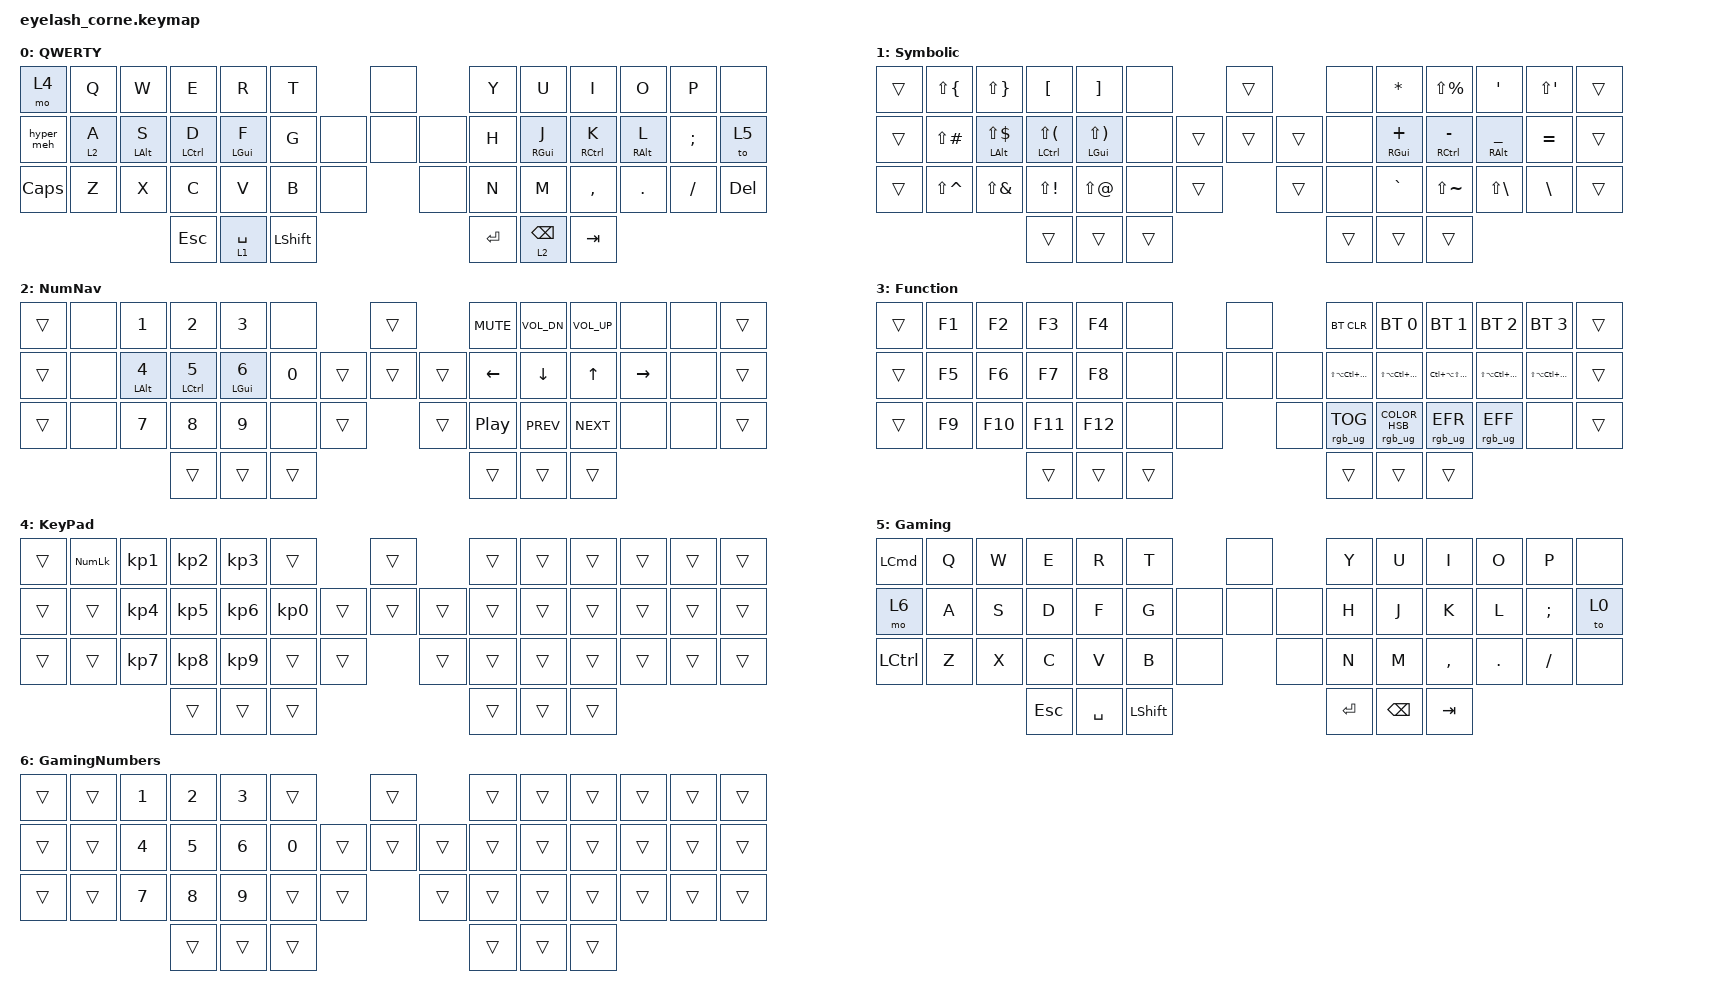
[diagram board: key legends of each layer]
#define ZMK_POINTING_DEFAULT_MOVE_VAL 1200  // 600
#define ZMK_POINTING_DEFAULT_SCRL_VAL 15   // 10

#include <input/processors.dtsi>
#include <zephyr/dt-bindings/input/input-event-codes.h>
#include <behaviors.dtsi>
#include <dt-bindings/zmk/bt.h>
#include <dt-bindings/zmk/keys.h>
#include <dt-bindings/zmk/rgb.h>

&mmv_input_listener { input-processors = <&zip_xy_scaler 2 1>; };

&msc_input_listener { input-processors = <&zip_scroll_scaler 2 1>; };

&msc {
    time-to-max-speed-ms = <200>;       // 300                   // 0
    acceleration-exponent = <0>;
    delay-ms = <0>;
};

&mmv {
    time-to-max-speed-ms = <500>;
    acceleration-exponent = <1>;
    trigger-period-ms = <16>;
};

&lt {
    flavor = "balanced";
    tapping-term-ms = <150>;
};

/ {
    behaviors {
        td0: td0 {
            compatible = "zmk,behavior-tap-dance";
            display-name = "Shift/Caps Lock Tap Dance";
            #binding-cells = <0>;
            bindings = <&kp LEFT_SHIFT>, <&caps_word>;

            label = "shift-caps";
        };

        hmr_left: hmr_left {
            compatible = "zmk,behavior-hold-tap";
            label = "HMR_LEFT";
            bindings = <&kp>, <&kp>;

            #binding-cells = <2>;
            quick-tap-ms = <175>;
            flavor = "balanced";
            hold-trigger-key-positions = <7 8 9 10 11 12 22 23 24 25 26 27 36 37 38 39 40 41 45 46 47>;
            tapping-term-ms = <220>;
            require-prior-idle-ms = <150>;
            hold-trigger-on-release;
        };

        hmr_right: hmr_right {
            compatible = "zmk,behavior-hold-tap";
            label = "HMR_RIGHT";
            bindings = <&kp>, <&kp>;

            #binding-cells = <2>;
            tapping-term-ms = <220>;
            quick-tap-ms = <175>;
            require-prior-idle-ms = <150>;
            flavor = "balanced";
            hold-trigger-on-release;
            hold-trigger-key-positions = <0 1 2 3 4 5 13 14 15 16 17 18 28 29 30 31 32 33 42 43 44>;
        };

        hyper_meh: hyper_meh {
            compatible = "zmk,behavior-tap-dance";
            label = "HYPER_MEH";
            #binding-cells = <0>;
            bindings = <&kp LS(LA(LC(LGUI)))>, <&kp LS(LA(LCTRL))>;
        };

        shift_auto_caps: shift_auto_caps {
            compatible = "zmk,behavior-hold-tap";
            label = "SHIFT_AUTO_CAPS";
            bindings = <&kp>, <&caps_word>;

            #binding-cells = <2>;
            hold-while-undecided;
            tapping-term-ms = <140>;
        };

        pinky_layer_shift: pinky_layer_shift {
            compatible = "zmk,behavior-hold-tap";
            label = "PINKY_LAYER_SHIFT";
            bindings = <&mo>, <&kp>;

            #binding-cells = <2>;
            quick-tap-ms = <175>;
            flavor = "tap-preferred";
            tapping-term-ms = <220>;
            require-prior-idle-ms = <150>;
            hold-trigger-on-release;
        };
    };

    rgb_encoder: rgb_encoder {
        compatible = "zmk,behavior-sensor-rotate";
        #sensor-binding-cells = <0>;
        bindings = <&rgb_ug RGB_BRI>, <&rgb_ug RGB_BRD>;
    };

    zip_scroll_scaler: zip_scroll_scaler {
        compatible = "zmk,input-processor-scaler";
        #input-processor-cells = <2>;
        type = <INPUT_EV_REL>;
        codes = <INPUT_REL_WHEEL INPUT_REL_HWHEEL>;

        // track-remainders;
    };

    combos { compatible = "zmk,combos"; };

    keymap {
        compatible = "zmk,keymap";

        default_layer {
            display-name = "QWERTY";
            bindings = <
&mo 4         &kp Q                   &kp W                 &kp E                     &kp R                 &kp T                       &none         &kp Y      &kp U                   &kp I                       &kp O                   &kp P          &none
&hyper_meh    &pinky_layer_shift 2 A  &hmr_left LEFT_ALT S  &hmr_left LEFT_CONTROL D  &hmr_left LEFT_GUI F  &kp G                &none  &none  &none  &kp H      &hmr_right RIGHT_GUI J  &hmr_right RIGHT_CONTROL K  &hmr_right RIGHT_ALT L  &kp SEMICOLON  &to 5
&kp CAPSLOCK  &kp Z                   &kp X                 &kp C                     &kp V                 &kp B       &none           &none         &kp N      &kp M                   &kp COMMA                   &kp DOT                 &kp FSLH       &kp DELETE
                                                            &kp ESCAPE                &lt 1 SPACE           &kp LSHIFT                                &kp ENTER  &lt 2 BACKSPACE         &kp TAB
            >;
        };

        Symbolic {
            bindings = <
&trans  &kp LS(LBRC)   &kp LS(RBRC)                   &kp LBKT                                     &kp RBKT                                  &none                     &trans          &none   &kp STAR                   &kp LS(PRCNT)                   &kp SINGLE_QUOTE            &kp LS(SINGLE_QUOTE)  &trans
&trans  &kp LS(POUND)  &hmr_left LEFT_ALT LS(DOLLAR)  &hmr_left LEFT_CONTROL LS(LEFT_PARENTHESIS)  &hmr_left LEFT_GUI LS(RIGHT_PARENTHESIS)  &none             &trans  &trans  &trans  &none   &hmr_right RIGHT_GUI PLUS  &hmr_right RIGHT_CONTROL MINUS  &hmr_right RIGHT_ALT UNDER  &kp EQUAL             &trans
&trans  &kp LS(CARET)  &kp LS(AMPS)                   &kp LS(EXCL)                                 &kp LS(AT)                                &none   &trans            &trans          &none   &kp GRAVE                  &kp LS(TILDE)                   &kp LS(BACKSLASH)           &kp BACKSLASH         &trans
                                                      &trans                                       &trans                                    &trans                                    &trans  &trans                     &trans
            >;
        };

        NumNav {
            bindings = <
&trans  &none  &kp N1                       &kp N2                           &kp N3                       &none                           &trans          &kp C_MUTE        &kp C_VOL_DN  &kp C_VOL_UP  &none      &none  &trans
&trans  &none  &hmr_left LEFT_ALT NUMBER_4  &hmr_left LEFT_CONTROL NUMBER_5  &hmr_left LEFT_GUI NUMBER_6  &kp NUMBER_0            &trans  &trans  &trans  &kp LEFT          &kp DOWN      &kp UP        &kp RIGHT  &none  &trans
&trans  &none  &kp N7                       &kp N8                           &kp N9                       &none         &trans            &trans          &kp C_PLAY_PAUSE  &kp C_PREV    &kp C_NEXT    &none      &none  &trans
                                            &trans                           &trans                       &trans                                          &trans            &trans        &trans
            >;
        };

        Function {
            bindings = <
&trans  &kp F1  &kp F2   &kp F3   &kp F4   &none                   &none         &bt BT_CLR              &bt BT_SEL 0                       &bt BT_SEL 1            &bt BT_SEL 2            &bt BT_SEL 3            &trans
&trans  &kp F5  &kp F6   &kp F7   &kp F8   &none            &none  &none  &none  &kp LS(LA(LC(LG(F1))))  &kp LS(LA(LC(LG(F2))))             &kp LC(LA(LS(LG(F3))))  &kp LS(LA(LC(LG(F4))))  &kp LS(LA(LC(LG(F5))))  &trans
&trans  &kp F9  &kp F10  &kp F11  &kp F12  &none   &none           &none         &rgb_ug RGB_TOG         &rgb_ug RGB_COLOR_HSB(125,100,50)  &rgb_ug RGB_EFR         &rgb_ug RGB_EFF         &none                   &trans
                         &trans   &trans   &trans                                &trans                  &trans                             &trans
            >;
        };

        KeyPad {
            bindings = <
&trans  &kp KP_NUMLOCK  &kp KP_NUMBER_1  &kp KP_NUMBER_2  &kp KP_NUMBER_3  &trans                             &trans          &trans  &trans  &trans  &trans  &trans  &trans
&trans  &trans          &kp KP_NUMBER_4  &kp KP_NUMBER_5  &kp KP_NUMBER_6  &kp KP_NUMBER_0            &trans  &trans  &trans  &trans  &trans  &trans  &trans  &trans  &trans
&trans  &trans          &kp KP_NUMBER_7  &kp KP_N8        &kp KP_NUMBER_9  &trans           &trans            &trans          &trans  &trans  &trans  &trans  &trans  &trans
                                         &trans           &trans           &trans                                             &trans  &trans  &trans
            >;
        };

        Gaming {
            bindings = <
&kp LEFT_COMMAND  &kp Q  &kp W  &kp E       &kp R      &kp T                           &none         &kp Y      &kp U          &kp I      &kp O    &kp P     &none
&mo 6             &kp A  &kp S  &kp D       &kp F      &kp G                    &none  &none  &none  &kp H      &kp J          &kp K      &kp L    &kp SEMI  &to 0
&kp LEFT_CONTROL  &kp Z  &kp X  &kp C       &kp V      &kp B           &none           &none         &kp N      &kp M          &kp COMMA  &kp DOT  &kp FSLH  &none
                                &kp ESCAPE  &kp SPACE  &kp LEFT_SHIFT                                &kp ENTER  &kp BACKSPACE  &kp TAB
            >;
        };

        GamingNumbers {
            bindings = <
&trans  &trans  &kp N1  &kp N2  &kp N3  &trans                    &trans          &trans  &trans  &trans  &trans  &trans  &trans
&trans  &trans  &kp N4  &kp N5  &kp N6  &kp N0            &trans  &trans  &trans  &trans  &trans  &trans  &trans  &trans  &trans
&trans  &trans  &kp N7  &kp N8  &kp N9  &trans  &trans            &trans          &trans  &trans  &trans  &trans  &trans  &trans
                        &trans  &trans  &trans                                    &trans  &trans  &trans
            >;
        };
    };

    conditional_layers {
        compatible = "zmk,conditional-layers";

        Function {
            if-layers = <1 2>;
            then-layer = <3>;
        };
    };
};
